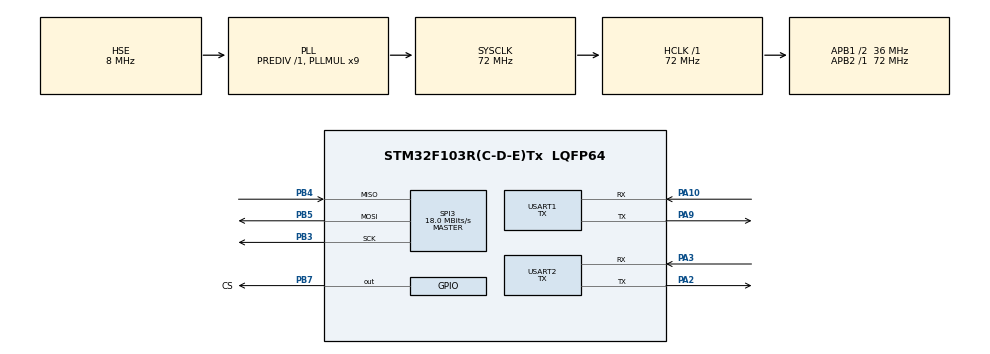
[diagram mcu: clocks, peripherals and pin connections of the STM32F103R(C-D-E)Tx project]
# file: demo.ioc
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Mcu.Family=STM32F1
Mcu.Name=STM32F103R(C-D-E)Tx
Mcu.Package=LQFP64
NVIC.PriorityGroup=NVIC_PRIORITYGROUP_4
NVIC.USART1_IRQn=true\:0\:0\:false\:false\:true\:true\:true
PA10.Mode=Asynchronous
PA10.Signal=USART1_RX
PA13.Mode=Serial_Wire
PA13.Signal=SYS_JTMS-SWDIO
PA14.Mode=Serial_Wire
PA14.Signal=SYS_JTCK-SWCLK
PA2.Mode=Asynchronous
PA2.Signal=USART2_TX
PA3.Mode=Asynchronous
PA3.Signal=USART2_RX
PA9.Mode=Asynchronous
PA9.Signal=USART1_TX
PB3.Mode=Full_Duplex_Master
PB3.Signal=SPI3_SCK
PB4.Mode=Full_Duplex_Master
PB4.Signal=SPI3_MISO
PB5.Mode=Full_Duplex_Master
PB5.Signal=SPI3_MOSI
PB7.GPIO_Label=CS
PB7.Signal=GPIO_Output
PD0-OSC_IN.Mode=HSE-External-Oscillator
PD0-OSC_IN.Signal=RCC_OSC_IN
PD1-OSC_OUT.Mode=HSE-External-Oscillator
PD1-OSC_OUT.Signal=RCC_OSC_OUT
ProjectManager.HeapSize=0x200
ProjectManager.StackSize=0x400
ProjectManager.TargetToolchain=MDK-ARM V5
RCC.AHBFreq_Value=72000000
RCC.APB1CLKDivider=RCC_HCLK_DIV2
RCC.APB1Freq_Value=36000000
RCC.APB1TimFreq_Value=72000000
RCC.APB2Freq_Value=72000000
RCC.APB2TimFreq_Value=72000000
RCC.HCLKFreq_Value=72000000
RCC.PLLMUL=RCC_PLL_MUL9
RCC.PLLSourceVirtual=RCC_PLLSOURCE_HSE
RCC.SYSCLKFreq_VALUE=72000000
RCC.SYSCLKSource=RCC_SYSCLKSOURCE_PLLCLK
RCC.USBFreq_Value=72000000
SPI3.BaudRatePrescaler=SPI_BAUDRATEPRESCALER_2
SPI3.CLKPhase=SPI_PHASE_2EDGE
SPI3.CLKPolarity=SPI_POLARITY_HIGH
SPI3.CalculateBaudRate=18.0 MBits/s
SPI3.Direction=SPI_DIRECTION_2LINES
SPI3.Mode=SPI_MODE_MASTER
SPI3.VirtualType=VM_MASTER
USART1.Mode=MODE_TX
USART1.VirtualMode=VM_ASYNC
USART2.Mode=MODE_TX
USART2.VirtualMode=VM_ASYNC
board=custom

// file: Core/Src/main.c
/* USER CODE BEGIN Header */
/**
 ******************************************************************************
 * @file           : main.c
 * @brief          : Main program body
 ******************************************************************************
 * @attention
 *
 * <h2><center>&copy; Copyright (c) 2022 STMicroelectronics.
 * All rights reserved.</center></h2>
 *
 * This software component is licensed by ST under BSD 3-Clause license,
 * the "License"; You may not use this file except in compliance with the
 * License. You may obtain a copy of the License at:
 *                        opensource.org/licenses/BSD-3-Clause
 *
 ******************************************************************************
 */
/* USER CODE END Header */
#include "main.h"
#include "gpio.h"
#include "spi.h"
#include "usart.h"

/* USER CODE BEGIN Includes */
#include <string.h>
#include "W25QXX/w25qxx.h"
/* USER CODE END Includes */

/* USER CODE BEGIN PV */
uint8_t  wData[0x100];
uint8_t  rData[0x100];
uint8_t  ID[4];
uint32_t i;
/* USER CODE END PV */

void SystemClock_Config(void);

int main(void) {

    /* MCU Configuration--------------------------------------------------------*/

    /* Reset of all peripherals, Initializes the Flash interface and the Systick. */
    HAL_Init();

    /* Configure the system clock */
    SystemClock_Config();

    /* Initialize all configured peripherals */
    MX_GPIO_Init();
    MX_USART1_UART_Init();
    MX_USART2_UART_Init();
    MX_SPI3_Init();
    /* USER CODE BEGIN 2 */
    printf("\r\n SPI-W25Qxxx Example \r\n\r\n");

    /*1- Read the device ID */
    W25QXX_Init();
    W25QXX_Read_ID(ID);
    printf("W25Qxxx ID is : ");
    for (i = 0; i < 2; i++) {
        printf("0x%02X ", ID[i]);
    }
    printf("\r\n\r\n");

    /* 2- Erase */
    if (W25QXX_Erase_Block(0) == W25Qx_OK)
        printf(" SPI Erase Block ok\r\n");
    else
        Error_Handler();

    /*-2- Written to the flash */
    /* fill buffer */
    for (i = 0; i < 0x100; i++) {
        wData[i] = i;
        rData[i] = 0;
    }

    if (W25QXX_Write(wData, 0x00, 0x100) == W25Qx_OK)
        printf(" SPI Write ok\r\n");
    else
        Error_Handler();

    /* 3- Read the flash */
    if (W25QXX_Read(rData, 0x00, 0x100) == W25Qx_OK)
        printf(" SPI Read ok\r\n\r\n");
    else
        Error_Handler();

    printf("SPI Read Data : \r\n");
    for (i = 0; i < 0x100; i++)
        printf("0x%02X  ", rData[i]);
    printf("\r\n\r\n");

    /* 4- check date */
    if (memcmp(wData, rData, 0x100) == 0)
        printf(" W25Q64FV SPI Test OK\r\n");
    else
        printf(" W25Q64FV SPI Test False\r\n");
    /* USER CODE END 2 */

    /* Infinite loop */
    while (1) {

    }
}

void SystemClock_Config(void) {
    RCC_OscInitTypeDef RCC_OscInitStruct = {0};
    RCC_ClkInitTypeDef RCC_ClkInitStruct = {0};

    /** Initializes the RCC Oscillators according to the specified parameters
     * in the RCC_OscInitTypeDef structure.
     */
    RCC_OscInitStruct.OscillatorType = RCC_OSCILLATORTYPE_HSE;
    RCC_OscInitStruct.HSEState       = RCC_HSE_ON;
    RCC_OscInitStruct.HSEPredivValue = RCC_HSE_PREDIV_DIV1;
    RCC_OscInitStruct.HSIState       = RCC_HSI_ON;
    RCC_OscInitStruct.PLL.PLLState   = RCC_PLL_ON;
    RCC_OscInitStruct.PLL.PLLSource  = RCC_PLLSOURCE_HSE;
    RCC_OscInitStruct.PLL.PLLMUL     = RCC_PLL_MUL9;
    if (HAL_RCC_OscConfig(&RCC_OscInitStruct) != HAL_OK) {
        Error_Handler();
    }
    /** Initializes the CPU, AHB and APB buses clocks
     */
    RCC_ClkInitStruct.ClockType      = RCC_CLOCKTYPE_HCLK | RCC_CLOCKTYPE_SYSCLK | RCC_CLOCKTYPE_PCLK1 | RCC_CLOCKTYPE_PCLK2;
    RCC_ClkInitStruct.SYSCLKSource   = RCC_SYSCLKSOURCE_PLLCLK;
    RCC_ClkInitStruct.AHBCLKDivider  = RCC_SYSCLK_DIV1;
    RCC_ClkInitStruct.APB1CLKDivider = RCC_HCLK_DIV2;
    RCC_ClkInitStruct.APB2CLKDivider = RCC_HCLK_DIV1;

    if (HAL_RCC_ClockConfig(&RCC_ClkInitStruct, FLASH_LATENCY_2) != HAL_OK) {
        Error_Handler();
    }
}

void Error_Handler(void) {
}

/************************ (C) COPYRIGHT STMicroelectronics *****END OF FILE****/
